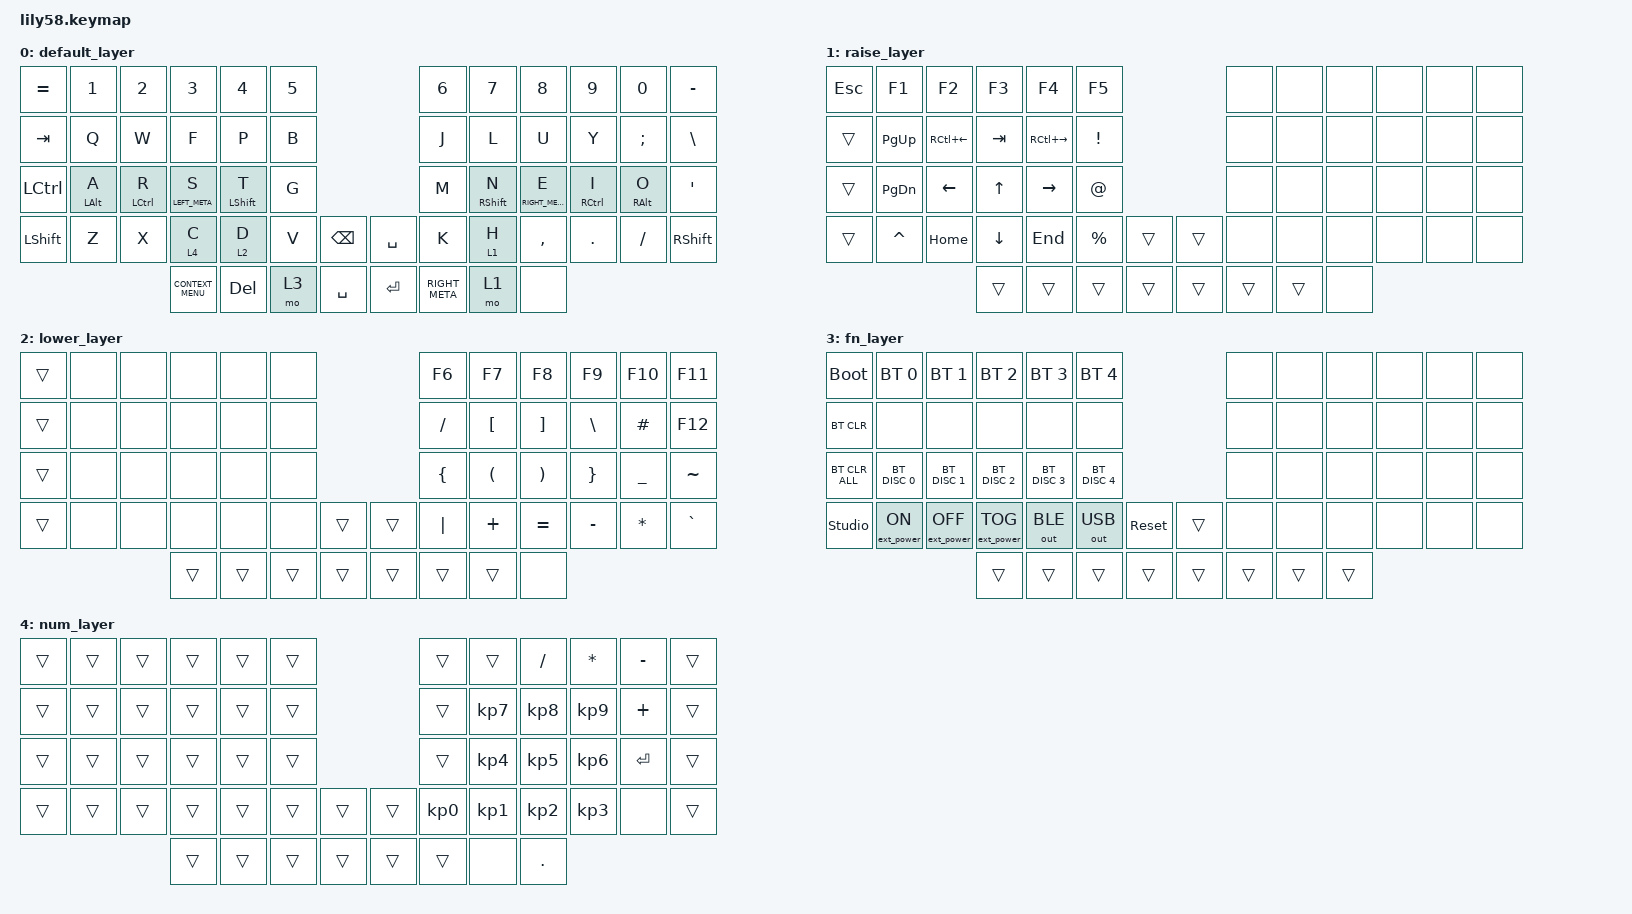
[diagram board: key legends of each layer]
/*
 * Copyright (c) 2020 The ZMK Contributors
 *
 * SPDX-License-Identifier: MIT
 */

#include <behaviors.dtsi>
#include <dt-bindings/zmk/bt.h>
#include <dt-bindings/zmk/ext_power.h>
#include <dt-bindings/zmk/keys.h>
#include <dt-bindings/zmk/outputs.h>

/ {
    combos {
        compatible = "zmk,combos";

        capslock {
            bindings = <&caps_word>;
            key-positions = <36 49>;
        };
    };

    behaviors {
        hml: hml {
            compatible = "zmk,behavior-hold-tap";
            label = "HML";
            bindings = <&kp>, <&kp>;

            #binding-cells = <2>;
            flavor = "balanced";
            tapping-term-ms = <280>;
            quick-tap-ms = <175>;
            require-prior-idle-ms = <150>;
            hold-trigger-on-release;
            hold-trigger-key-positions = <6 7 8 9 10 11 18 19 20 21 22 23 30 31 32 33 34 35 44 45 46 47 48 49 43 55 54 56 57>;
            retro-tap;
        };

        hmr: hmr {
            compatible = "zmk,behavior-hold-tap";
            label = "HMR";
            bindings = <&kp>, <&kp>;

            #binding-cells = <2>;
            flavor = "balanced";
            tapping-term-ms = <280>;
            quick-tap-ms = <175>;
            require-prior-idle-ms = <150>;
            hold-trigger-on-release;
            hold-trigger-key-positions = <1 5 13 14 15 16 17 25 26 27 28 29 37 38 39 41 2 3 4 0 12 36 24 42 53 52 50 51 40>;
            retro-tap;
        };
    };

    keymap {
        compatible = "zmk,keymap";

        default_layer {
            // ------------------------------------------------------------------------------------------------------------
            // |  ESC  |  1  |  2  |  3   |  4   |  5   |                   |  6   |  7    |  8    |  9   |   0   |   `   |
            // |  TAB  |  Q  |  W  |  E   |  R   |  T   |                   |  Y   |  U    |  I    |  O   |   P   |   -   |
            // |  CTRL |  A  |  S  |  D   |  F   |  G   |                   |  H   |  J    |  K    |  L   |   ;   |   '   |
            // | SHIFT |  Z  |  X  |  C   |  V   |  B   |   "["  |  |  "]"  |  N   |  M    |  ,    |  .   |   /   | SHIFT |
            //                     | ALT  | GUI  | LOWER|  SPACE |  | ENTER | RAISE| BSPC  | GUI   |

            bindings = <
&kp EQUAL       &kp N1           &kp N2        &kp N3              &kp N4             &kp N5                              &kp N6          &kp N7              &kp N8             &kp N9        &kp N0            &kp MINUS
&kp TAB         &kp Q            &kp W         &kp F               &kp P              &kp B                               &kp J           &kp L               &kp U              &kp Y         &kp SEMICOLON     &kp BACKSLASH
&kp LCTRL       &hml LEFT_ALT A  &hml LCTRL R  &hml LEFT_META S    &hml LEFT_SHIFT T  &kp G                               &kp M           &hmr RIGHT_SHIFT N  &hmr RIGHT_META E  &hmr RCTRL I  &hmr RIGHT_ALT O  &kp SQT
&kp LEFT_SHIFT  &kp Z            &kp X         &lt 4 C             &lt 2 D            &kp V   &kp BACKSPACE    &kp SPACE  &kp K           &lt 1 H             &kp COMMA          &kp DOT       &kp FSLH          &kp RSHFT
                                               &kp K_CONTEXT_MENU  &kp DEL            &mo 3   &kp SPACE        &kp RET    &kp RIGHT_META  &mo 1               &none
            >;
        };

        raise_layer {
            bindings = <
&kp ESCAPE  &kp F1         &kp F2          &kp F3          &kp F4         &kp F5                             &none   &none   &none  &none  &none  &none
&trans      &kp PAGE_UP    &kp RC(LEFT)    &kp TAB         &kp RC(RIGHT)  &kp EXCLAMATION                    &none   &none   &none  &none  &none  &none
&trans      &kp PAGE_DOWN  &kp LEFT_ARROW  &kp UP_ARROW    &kp RIGHT      &kp AT_SIGN                        &none   &none   &none  &none  &none  &none
&trans      &kp CARET      &kp HOME        &kp DOWN_ARROW  &kp END        &kp PERCENT      &trans    &trans  &none   &none   &none  &none  &none  &none
                                           &trans          &trans         &trans           &trans    &trans  &trans  &trans  &none
            >;
        };

        lower_layer {
            // ------------------------------------------------------------------------------------------------------------
            // |       |     |     |      |      |      |                   |      |       |       |      |       |       |
            // |   `   |  1  |  2  |  3   |  4   |  5   |                   |  6   |   7   |   8   |  9   |   0   |       |
            // |   F1  |  F2 |  F3 |  F4  |  F5  |  F6  |                   |      |   <-  |   v   |  ^   |  ->   |       |
            // |   F7  |  F8 |  F9 |  F10 |  F11 |  F12 |        |  |       |  +   |   -   |   =   |  [   |   ]   |   \   |
            //                     |      |      |      |        |  |       |      |       |       |

            bindings = <
&trans  &none  &none  &none   &none   &none                     &kp F6          &kp F7                &kp F8                 &kp F9           &kp F10         &kp F11
&trans  &none  &none  &none   &none   &none                     &kp SLASH       &kp LEFT_BRACKET      &kp RIGHT_BRACKET      &kp BACKSLASH    &kp HASH        &kp F12
&trans  &none  &none  &none   &none   &none                     &kp LEFT_BRACE  &kp LEFT_PARENTHESIS  &kp RIGHT_PARENTHESIS  &kp RIGHT_BRACE  &kp UNDERSCORE  &kp TILDE
&trans  &none  &none  &none   &none   &none   &trans    &trans  &kp PIPE        &kp PLUS              &kp EQUAL              &kp MINUS        &kp ASTERISK    &kp GRAVE
                      &trans  &trans  &trans  &trans    &trans  &trans          &trans                &none
            >;
        };

        fn_layer {
            // ------------------------------------------------------------------------------------------------------------
            // | BTCLR | BT1 | BT2 |  BT3 |  BT4 |  BT5 |                   |      |       |       |      |       |       |
            // |  F1   |  F2 |  F3 |  F4  |  F5  |  F6  |                   |  F7  |  F8   |  F9   |  F10 |  F11  |  F12  |
            // |   `   |  !  |  @  |  #   |  $   |  %   |                   |  ^   |  &    |  *    |  (   |   )   |   ~   |
            // |       |     |     |      |      |      |        |  |       |      |  _    |  +    |  {   |   }   |  "|"  |
            //                     |      |      |      |        |  |       |      |       |       |

            bindings = <
&bootloader     &bt BT_SEL 0      &bt BT_SEL 1       &bt BT_SEL 2       &bt BT_SEL 3   &bt BT_SEL 4                         &none   &none   &none   &none  &none  &none
&bt BT_CLR      &none             &none              &none              &none          &none                                &none   &none   &none   &none  &none  &none
&bt BT_CLR_ALL  &bt BT_DISC 0     &bt BT_DISC 1      &bt BT_DISC 2      &bt BT_DISC 3  &bt BT_DISC 4                        &none   &none   &none   &none  &none  &none
&studio_unlock  &ext_power EP_ON  &ext_power EP_OFF  &ext_power EP_TOG  &out OUT_BLE   &out OUT_USB   &sys_reset    &trans  &none   &none   &none   &none  &none  &none
                                                     &trans             &trans         &trans         &trans        &trans  &trans  &trans  &trans
            >;
        };

        num_layer {
            bindings = <
&trans  &trans  &trans  &trans  &trans  &trans                    &trans           &trans           &kp FSLH         &kp STAR         &kp MINUS  &trans
&trans  &trans  &trans  &trans  &trans  &trans                    &trans           &kp KP_NUMBER_7  &kp KP_NUMBER_8  &kp KP_NUMBER_9  &kp PLUS   &trans
&trans  &trans  &trans  &trans  &trans  &trans                    &trans           &kp KP_NUMBER_4  &kp KP_NUMBER_5  &kp KP_NUMBER_6  &kp RET    &trans
&trans  &trans  &trans  &trans  &trans  &trans  &trans    &trans  &kp KP_NUMBER_0  &kp KP_NUMBER_1  &kp KP_NUMBER_2  &kp KP_NUMBER_3  &none      &trans
                        &trans  &trans  &trans  &trans    &trans  &trans           &none            &kp DOT
            >;
        };
    };
};
